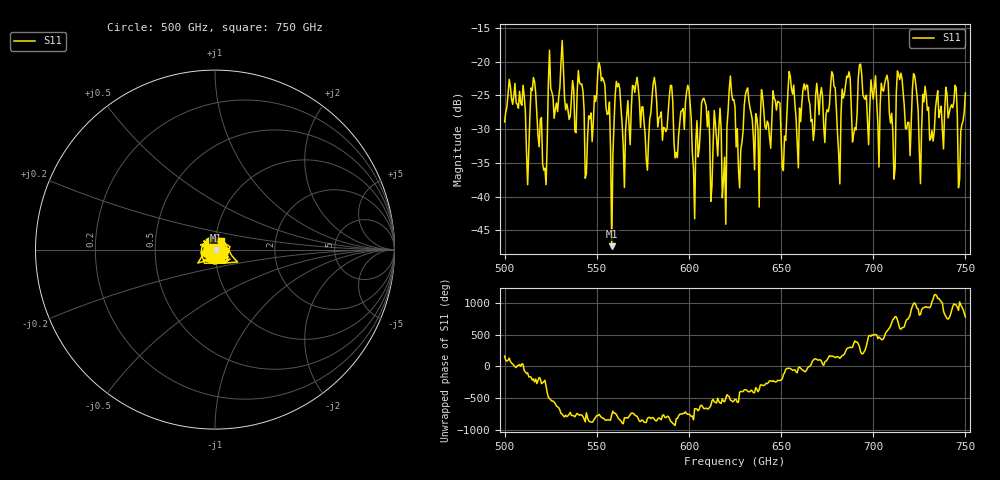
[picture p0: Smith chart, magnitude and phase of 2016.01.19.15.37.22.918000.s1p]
!Created with skrf (http://scikit-rf.org).
# GHz S RI R 50.0
!freq ReS11 ImS11
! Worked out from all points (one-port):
!   401 points, 500 GHz to 750 GHz, reference 50 ohm
!   lowest |S11| = -47.4 dB at 558.1 GHz (marker M1), VSWR 1.01, Z = 50.4 - j0.248 ohm
!   |S11| at or under -10 dB: start of sweep to end of sweep
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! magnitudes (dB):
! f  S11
! 500 GHz  -28.9
! 512.5 GHz  -38.2
! 515.6 GHz  -22.4
! 521.9 GHz  -35.8
! 525 GHz  -23.9
! 531.2 GHz  -16.9
! 545 GHz  -31.3
! 551.9 GHz  -20.9
! 558.1 GHz  -47.4
! 562.5 GHz  -24.1
! 593.8 GHz  -34.2
! 599.4 GHz  -23.5
! 603.8 GHz  -31.6
! 608.1 GHz  -25.4
! 618.8 GHz  -37.5
! 621.9 GHz  -24.1
! 625 GHz  -26.7
! 646.9 GHz  -25.8
! 651.2 GHz  -36.2
! 656.2 GHz  -24.8
! 678.1 GHz  -21.9
! 681.2 GHz  -33.6
! 687.5 GHz  -22.5
! 706.9 GHz  -22.5
! 710.6 GHz  -30.3
! 714.4 GHz  -22.7
! 718.8 GHz  -29.0
! 750 GHz  -24.6
